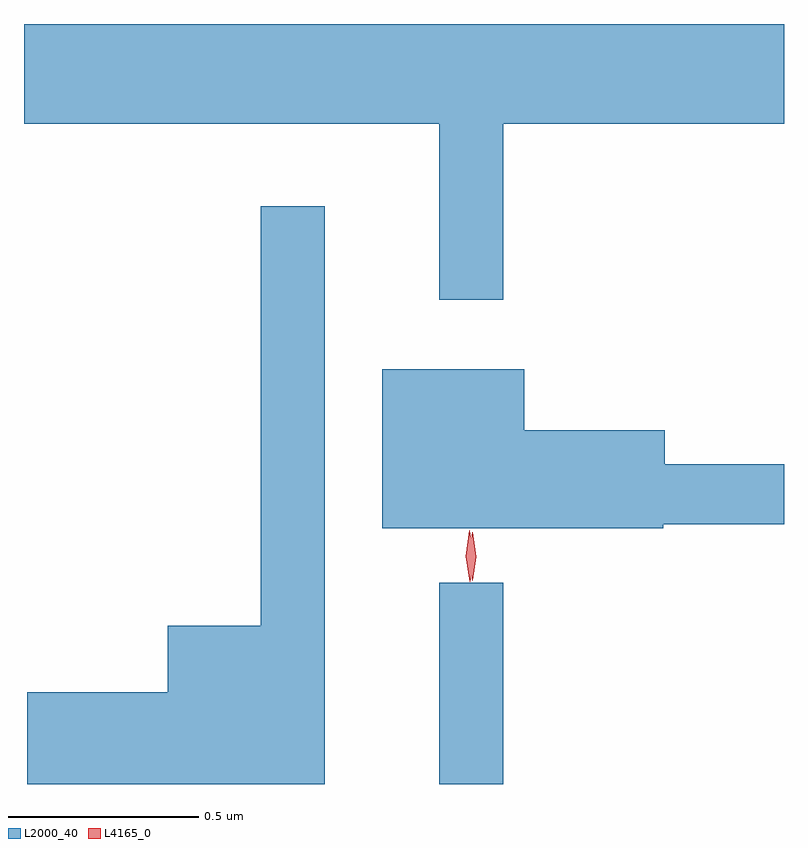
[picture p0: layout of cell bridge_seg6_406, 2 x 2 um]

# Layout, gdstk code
import gdstk
lib = gdstk.Library(unit=1e-6, precision=1e-09)
def R(c, l, rs):  # rectangles x0, y0, x1, y1
    for r in rs: c.add(gdstk.rectangle(r[:2], r[2:], *l))
def P(c, l, *ps):  # polygons
    for p in ps: c.add(gdstk.Polygon(p, *l))
L2000_40 = (2000, 40)
L4165_0 = (4165, 0)

bridge_seg6_406 = lib.new_cell('bridge_seg6_406')
R(bridge_seg6_406, L2000_40, [(984.131,1617.118,984.299,1617.648)])
P(bridge_seg6_406, L2000_40, [(984.299,1618.856),(985.038,1618.856),(985.038,1619.118),(983.038,1619.118),(983.038,1618.856),(984.131,1618.856),(984.131,1618.393),(984.299,1618.393)],
  [(983.829,1618.638),(983.661,1618.638),(983.661,1617.534),(983.416,1617.534),(983.416,1617.359),(983.046,1617.359),(983.046,1617.118),(983.829,1617.118)],
  [(984.72,1617.801),(985.038,1617.801),(985.038,1617.959),(984.724,1617.959),(984.724,1618.049),(984.354,1618.049),(984.354,1618.209),(983.981,1618.209),(983.981,1617.791),(984.72,1617.791)])
P(bridge_seg6_406, L4165_0, [(984.211,1617.65),(984.211,1617.65),(984.201,1617.718),(984.21,1617.785),(984.211,1617.786),(984.211,1617.785),(984.221,1617.718),(984.212,1617.65)],
  [(984.218,1617.653),(984.218,1617.654),(984.208,1617.716),(984.218,1617.78),(984.218,1617.78),(984.219,1617.78),(984.228,1617.716),(984.219,1617.654)])

lib.write_gds('bridge_seg6_406.gds')
